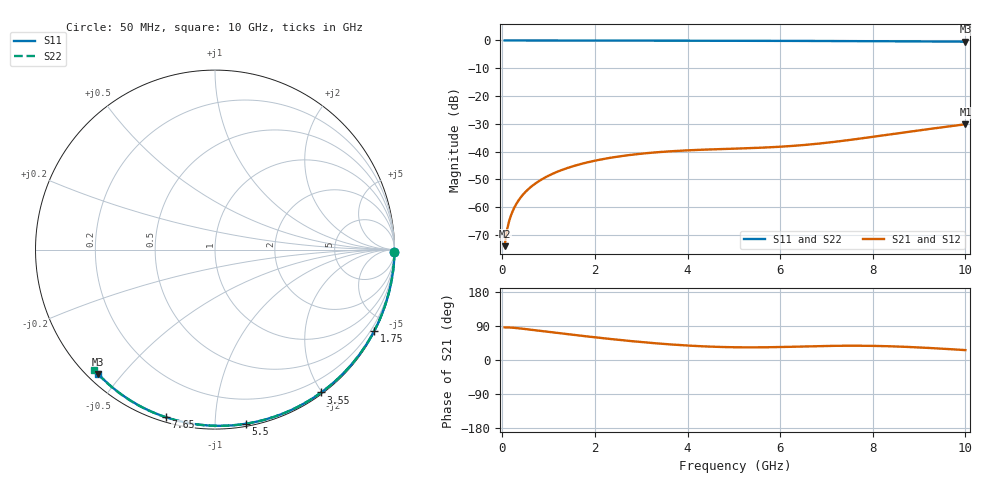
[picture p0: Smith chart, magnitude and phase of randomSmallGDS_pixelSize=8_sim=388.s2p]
! freq	dB(S11)	phase(S11)	dB(S12)	phase(S12)
!  dB(S21)	phase(S21)	dB(S22)	phase(S22)
!S-par simulation data
#  GHz  S  DB  R 50
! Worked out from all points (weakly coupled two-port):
!   200 points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, 50 MHz to 10 GHz, reference 50 ohm
!   highest |S21| = -30.16 dB at 10 GHz (marker M1); lowest = -74.0 dB at 50 MHz (marker M2)
!   lowest |S11| = -0.4 dB at 10 GHz (marker M3), VSWR 39.34, Z = 1.51 - j21.6 ohm
!   |S11| at or under -10 dB: nowhere
!   |S22| runs from -0.4 to 0.0 dB; largest |S21 - S12| = 0
!   S11 on the Smith chart (normalised r, x): 50 MHz: open; 1.75 GHz: 0.04, -4.17; 3.55 GHz: 0.02, -1.99; 5.5 GHz: 0.02, -1.20; 7.65 GHz: 0.02, -0.75; 10 GHz: 0.03, -0.43
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0.05  -0.00 -0.8  -74.00 86.0  -74.00 86.0  -0.00 -0.8
0.1  -0.00 -1.6  -68.26 86.0  -68.26 86.0  -0.00 -1.6
0.15  -0.00 -2.4  -64.83 85.8  -64.83 85.8  -0.00 -2.4
0.2  -0.00 -3.1  -62.37 85.5  -62.37 85.5  -0.00 -3.2
0.25  -0.00 -3.9  -60.45 84.9  -60.45 84.9  -0.00 -4.0
0.35  -0.00 -5.5  -57.56 83.7  -57.56 83.7  -0.00 -5.6
0.5  -0.01 -7.8  -54.50 81.6  -54.50 81.6  -0.01 -7.9
0.7  -0.01 -10.9  -51.63 78.7  -51.63 78.7  -0.01 -11.1
1  -0.02 -15.5  -48.64 74.3  -48.64 74.3  -0.02 -15.8
1.35  -0.03 -20.9  -46.21 69.1  -46.21 69.1  -0.03 -21.2
1.75  -0.03 -27.0  -44.22 63.4  -44.22 63.4  -0.03 -27.4
2.5  -0.05 -38.2  -41.77 53.3  -41.77 53.3  -0.05 -38.7
3.4  -0.07 -51.2  -40.14 43.2  -40.14 43.2  -0.07 -52.0
3.55  -0.07 -53.4  -39.96 41.8  -39.96 41.8  -0.07 -54.1
4.3  -0.09 -63.8  -39.32 36.3  -39.32 36.3  -0.09 -64.7
5.05  -0.11 -73.9  -38.90 33.6  -38.90 33.6  -0.11 -74.9
5.5  -0.13 -79.8  -38.64 33.4  -38.64 33.4  -0.13 -80.9
6.7  -0.18 -95.0  -37.33 36.3  -37.33 36.3  -0.18 -96.2
7.65  -0.24 -106.4  -35.47 37.7  -35.47 37.7  -0.24 -107.8
8.35  -0.29 -114.6  -33.86 36.3  -33.86 36.3  -0.29 -116.1
9.2  -0.36 -124.3  -31.90 31.9  -31.90 31.9  -0.37 -125.9
10  -0.44 -133.3  -30.16 26.1  -30.16 26.1  -0.45 -135.0
